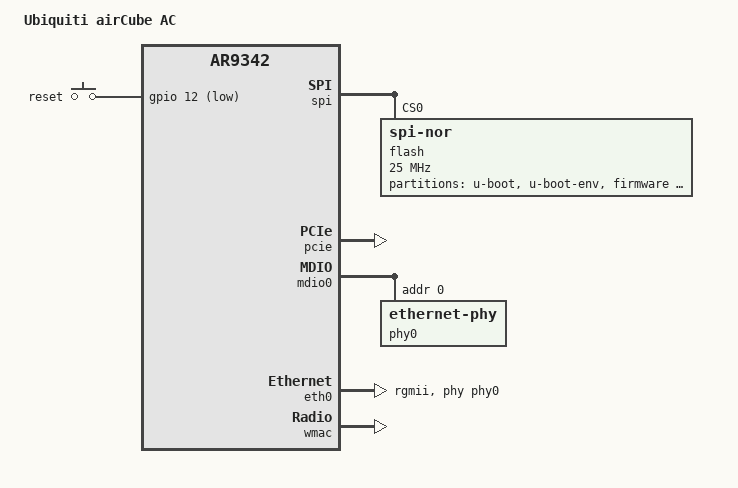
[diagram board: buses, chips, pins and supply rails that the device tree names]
// SPDX-License-Identifier: GPL-2.0-or-later OR MIT

#include "ar9344.dtsi"

#include <dt-bindings/gpio/gpio.h>
#include <dt-bindings/input/input.h>

/ {
	compatible = "ubnt,aircube-ac", "qca,ar9342";
	model = "Ubiquiti airCube AC";

	keys {
		compatible = "gpio-keys";

		reset {
			label = "reset";
			linux,code = <KEY_RESTART>;
			gpios = <&gpio 12 GPIO_ACTIVE_LOW>;
			debounce-interval = <60>;
		};
	};
};

&spi {
	status = "okay";

	flash@0 {
		compatible = "jedec,spi-nor";
		reg = <0>;
		spi-max-frequency = <25000000>;

		partitions {
			compatible = "fixed-partitions";
			#address-cells = <1>;
			#size-cells = <1>;

			partition@0 {
				label = "u-boot";
				reg = <0x000000 0x040000>;
				read-only;
			};

			partition@40000 {
				label = "u-boot-env";
				reg = <0x040000 0x010000>;
				read-only;
			};

			partition@50000 {
				compatible = "denx,uimage";
				label = "firmware";
				reg = <0x050000 0xf60000>;
			};

			partition@fb0000 {
				label = "cfg";
				reg = <0xfb0000 0x040000>;
				read-only;
			};

			art: partition@ff0000 {
				label = "art";
				reg = <0xff0000 0x010000>;
				read-only;
			};
		};
	};
};

&ref {
	clock-frequency = <40000000>;
};

&pcie {
	status = "okay";
};

&mdio0 {
	status = "okay";

	phy-mask = <4>;
	phy0: ethernet-phy@0 {
		phy-mode = "rgmii";
		reg = <0>;

		qca,ar8327-initvals = <
			0x04 0x07600000 /* PORT0 PAD MODE CTRL */
			0x7c 0x0000007e /* PORT0_STATUS */
		>;
	};
};

&eth0 {
	status = "okay";

	/* default for ar934x, except for 1000M and 10M */
	pll-data = <0x06000000 0x00000101 0x00001313>;

	nvmem-cells = <&macaddr_art_0>;
	nvmem-cell-names = "mac-address";

	phy-mode = "rgmii";
	phy-handle = <&phy0>;

	gmac-config {
		device = <&gmac>;
	};
};

&wmac {
	status = "okay";

	mtd-cal-data = <&art 0x1000>;
};

&art {
	compatible = "nvmem-cells";
	#address-cells = <1>;
	#size-cells = <1>;

	macaddr_art_0: macaddr@0 {
		reg = <0x0 0x6>;
	};
};
